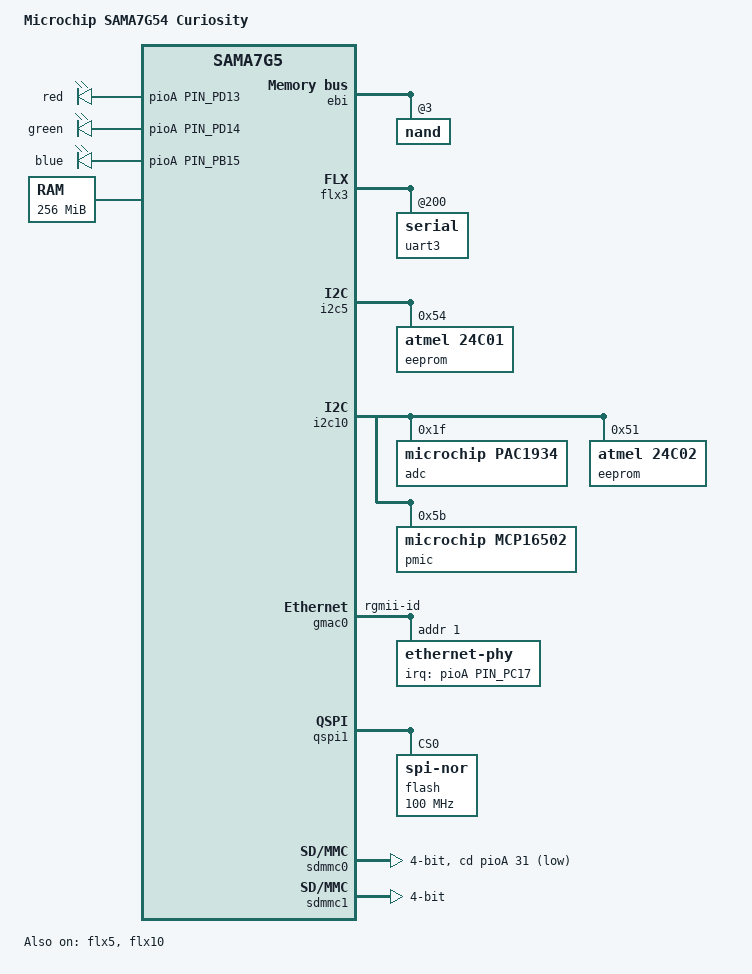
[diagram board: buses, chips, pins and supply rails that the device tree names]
// SPDX-License-Identifier: (GPL-2.0+ OR MIT)
/*
 * at91-sama7g54_curiosity.dts - Device Tree file for SAMA7G54 CURIOSITY board
 *
 * Copyright (C) 2024 Microchip Technology Inc. and its subsidiaries
 *
 * Author: Mihai Sain <mihai.sain@microchip.com>
 *
 */
/dts-v1/;
#include "sama7g5-pinfunc.h"
#include "sama7g5.dtsi"
#include <dt-bindings/input/input.h>
#include <dt-bindings/mfd/atmel-flexcom.h>
#include <dt-bindings/pinctrl/at91.h>

/ {
	model = "Microchip SAMA7G54 Curiosity";
	compatible = "microchip,sama7g54-curiosity", "microchip,sama7g5", "microchip,sama7";

	aliases {
		serial0 = &uart3;
		i2c0 = &i2c10;
	};

	chosen {
		bootargs = "console=ttyS0,115200 root=/dev/mmcblk1p2 rw rootwait";
		stdout-path = "serial0:115200n8";
	};

	clocks {
		slow_xtal {
			clock-frequency = <32768>;
		};

		main_xtal {
			clock-frequency = <24000000>;
		};
	};

	leds {
		compatible = "gpio-leds";
		pinctrl-names = "default";
		pinctrl-0 = <&pinctrl_led_gpio_default>;

		led-red {
			label = "red";
			gpios = <&pioA PIN_PD13 GPIO_ACTIVE_HIGH>;
			default-state = "off";
		};

		led-green {
			label = "green";
			gpios = <&pioA PIN_PD14 GPIO_ACTIVE_HIGH>;
			default-state = "off";
		};

		led-blue {
			label = "blue";
			gpios = <&pioA PIN_PB15 GPIO_ACTIVE_HIGH>;
			default-state = "on";
		};
	};

	memory {
		device_type = "memory";
		reg = <0x60000000 0x10000000>; // 256 MiB DDR3L-1066 16-bit
	};
};

&ebi {
	pinctrl-names = "default";
	pinctrl-0 = <&pinctrl_nand_default>;
	status = "okay";

	nand_controller: nand-controller {
		status = "okay";

		nand@3 {
			reg = <0x3 0x0 0x800000>;
			atmel,rb = <0>;
			nand-bus-width = <8>;
			nand-ecc-mode = "hw";
			nand-ecc-strength = <8>;
			nand-ecc-step-size = <512>;
			nand-on-flash-bbt;
		};
	};
};

&flx3 {
	atmel,flexcom-mode = <ATMEL_FLEXCOM_MODE_USART>;
	status = "okay";

	uart3: serial@200 {
		pinctrl-names = "default";
		pinctrl-0 = <&pinctrl_flx3_default>;
		status = "okay";
	};
};

&flx5 {
	atmel,flexcom-mode = <ATMEL_FLEXCOM_MODE_TWI>;
	status = "okay";

	i2c5: i2c@600 {
		pinctrl-names = "default";
		pinctrl-0 = <&pinctrl_flx5_default>;
		status = "okay";

		eeprom@54 {
			compatible = "atmel,24c01";
			reg = <0x54>;
			pagesize = <8>;
			status = "okay";
		};
	};
};

&flx10 {
	atmel,flexcom-mode = <ATMEL_FLEXCOM_MODE_TWI>;
	status = "okay";

	i2c10: i2c@600 {
		pinctrl-names = "default";
		pinctrl-0 = <&pinctrl_flx10_default>;
		i2c-analog-filter;
		i2c-digital-filter;
		i2c-digital-filter-width-ns = <35>;
		status = "okay";

		adc@1f {
			compatible = "microchip,pac1934";
			reg = <0x1f>;
		};

		eeprom@51 {
			compatible = "atmel,24c02";
			reg = <0x51>;
			pagesize = <16>;
			size = <256>;
		};

		pmic@5b {
			compatible = "microchip,mcp16502";
			reg = <0x5b>;
		};
	};
};

&gmac0 {
	#address-cells = <1>;
	#size-cells = <0>;
	pinctrl-names = "default";
	pinctrl-0 = <&pinctrl_gmac0_default
		     &pinctrl_gmac0_mdio_default
		     &pinctrl_gmac0_txck_default
		     &pinctrl_gmac0_phy_irq>;
	magic-packet;
	phy-mode = "rgmii-id";
	status = "okay";

	ethernet-phy@1 {
		reg = <0x1>;
		interrupt-parent = <&pioA>;
		interrupts = <PIN_PC17 IRQ_TYPE_LEVEL_LOW>;
	};
};

&pioA {
	pinctrl_flx3_default: flx3-default {
		pinmux = <PIN_PD16__FLEXCOM3_IO0>,
			 <PIN_PD17__FLEXCOM3_IO1>;
		bias-pull-up;
	};

	pinctrl_flx5_default: flx5-default {
		pinmux = <PIN_PA10__FLEXCOM5_IO0>,
			 <PIN_PA11__FLEXCOM5_IO1>;
		bias-pull-up;
	};

	pinctrl_flx10_default: flx10-default {
		pinmux = <PIN_PC30__FLEXCOM10_IO0>,
			 <PIN_PC31__FLEXCOM10_IO1>;
		bias-pull-up;
	};

	pinctrl_gmac0_default: gmac0-default {
		pinmux = <PIN_PA16__G0_TX0>,
			 <PIN_PA17__G0_TX1>,
			 <PIN_PA26__G0_TX2>,
			 <PIN_PA27__G0_TX3>,
			 <PIN_PA19__G0_RX0>,
			 <PIN_PA20__G0_RX1>,
			 <PIN_PA28__G0_RX2>,
			 <PIN_PA29__G0_RX3>,
			 <PIN_PA15__G0_TXEN>,
			 <PIN_PA30__G0_RXCK>,
			 <PIN_PA18__G0_RXDV>,
			 <PIN_PA25__G0_125CK>;
		slew-rate = <0>;
		bias-disable;
	};

	pinctrl_gmac0_mdio_default: gmac0-mdio-default {
		pinmux = <PIN_PA22__G0_MDC>,
			 <PIN_PA23__G0_MDIO>;
		bias-disable;
	};

	pinctrl_gmac0_txck_default: gmac0-txck-default {
		pinmux = <PIN_PA24__G0_TXCK>;
		slew-rate = <0>;
		bias-pull-up;
	};

	pinctrl_gmac0_phy_irq: gmac0-phy-irq {
		pinmux = <PIN_PC17__EXT_IRQ0>;
		bias-disable;
	};

	pinctrl_led_gpio_default: led-gpio-default {
		pinmux = <PIN_PD13__GPIO>,
			 <PIN_PD14__GPIO>,
			 <PIN_PB15__GPIO>;
		bias-pull-up;
	};

	pinctrl_nand_default: nand-default {
		pinmux = <PIN_PD9__D0>,
			 <PIN_PD10__D1>,
			 <PIN_PD11__D2>,
			 <PIN_PC21__D3>,
			 <PIN_PC22__D4>,
			 <PIN_PC23__D5>,
			 <PIN_PC24__D6>,
			 <PIN_PD2__D7>,
			 <PIN_PD3__NANDRDY>,
			 <PIN_PD4__NCS3_NANDCS>,
			 <PIN_PD5__NWE_NWR0_NANDWE>,
			 <PIN_PD6__NRD_NANDOE>,
			 <PIN_PD7__A21_NANDALE>,
			 <PIN_PD8__A22_NANDCLE>;
		bias-disable;
		slew-rate = <0>;
	};

	pinctrl_qspi1_default: qspi1-default {
		pinmux = <PIN_PB22__QSPI1_IO3>,
			 <PIN_PB23__QSPI1_IO2>,
			 <PIN_PB24__QSPI1_IO1>,
			 <PIN_PB25__QSPI1_IO0>,
			 <PIN_PB26__QSPI1_CS>,
			 <PIN_PB27__QSPI1_SCK>;
		bias-pull-up;
		slew-rate = <0>;
	};

	pinctrl_sdmmc0_default: sdmmc0-default {
		pinmux = <PIN_PA0__SDMMC0_CK>,
			 <PIN_PA1__SDMMC0_CMD>,
			 <PIN_PA2__SDMMC0_RSTN>,
			 <PIN_PA3__SDMMC0_DAT0>,
			 <PIN_PA4__SDMMC0_DAT1>,
			 <PIN_PA5__SDMMC0_DAT2>,
			 <PIN_PA6__SDMMC0_DAT3>;
		bias-pull-up;
		slew-rate = <0>;
	};

	pinctrl_sdmmc1_default: sdmmc1-default {
		pinmux = <PIN_PB29__SDMMC1_CMD>,
			 <PIN_PB30__SDMMC1_CK>,
			 <PIN_PB31__SDMMC1_DAT0>,
			 <PIN_PC0__SDMMC1_DAT1>,
			 <PIN_PC1__SDMMC1_DAT2>,
			 <PIN_PC2__SDMMC1_DAT3>,
			 <PIN_PC4__SDMMC1_CD>;
		bias-pull-up;
		slew-rate = <0>;
	};
};

&qspi1 {
	pinctrl-names = "default";
	pinctrl-0 = <&pinctrl_qspi1_default>;
	status = "okay";

	flash@0 {
		compatible = "jedec,spi-nor";
		reg = <0x0>;
		spi-max-frequency = <100000000>;
		spi-tx-bus-width = <4>;
		spi-rx-bus-width = <4>;
		m25p,fast-read;
	};
};

// M.2 slot for wireless card
&sdmmc0 {
	bus-width = <4>;
	cd-gpios = <&pioA 31 GPIO_ACTIVE_LOW>;
	disable-wp;
	max-frequency = <50000000>;
	pinctrl-names = "default";
	pinctrl-0 = <&pinctrl_sdmmc0_default>;
	status = "okay";
};

// micro SD socket
&sdmmc1 {
	bus-width = <4>;
	disable-wp;
	max-frequency = <50000000>;
	pinctrl-names = "default";
	pinctrl-0 = <&pinctrl_sdmmc1_default>;
	status = "okay";
};
